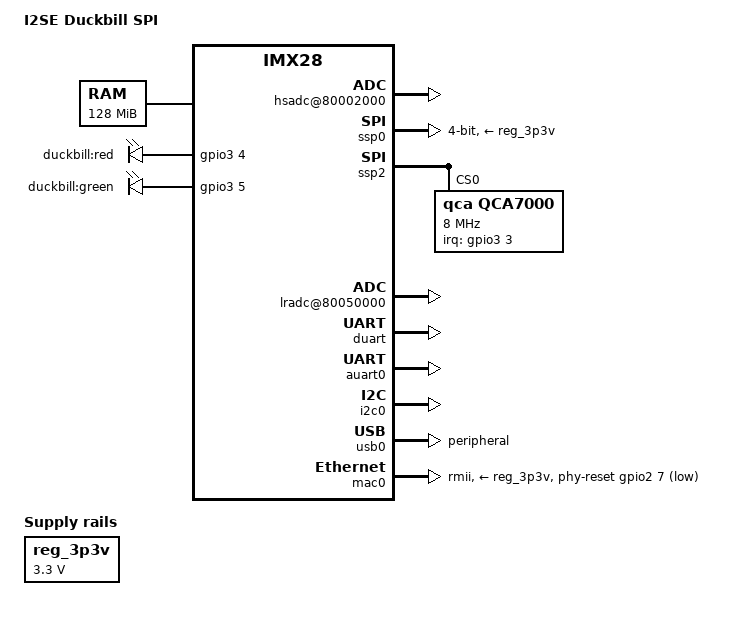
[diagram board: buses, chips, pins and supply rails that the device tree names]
/*
 * Copyright 2013 I2SE GmbH
 *
 * The code contained herein is licensed under the GNU General Public
 * License. You may obtain a copy of the GNU General Public License
 * Version 2 or later at the following locations:
 *
 * http://www.opensource.org/licenses/gpl-license.html
 * http://www.gnu.org/copyleft/gpl.html
 */

/dts-v1/;
/include/ "imx28.dtsi"

/ {
	model = "I2SE Duckbill SPI";
	compatible = "i2se,imx28-duckbill-spi", "fsl,imx28";

	aliases {
		spi1 = &ssp2;	// give QCA7000 fixed name
	};

	memory {
		reg = <0x40000000 0x08000000>;
	};

	apb@80000000 {
		apbh@80000000 {
			hsadc@80002000 {
				status = "okay";
			};

			ssp0: ssp@80010000 {
				compatible = "fsl,imx28-mmc";
				pinctrl-names = "default";
				pinctrl-0 = <&mmc0_4bit_pins_a
					&mmc0_cd_cfg &mmc0_sck_cfg>;
				bus-width = <4>;
				vmmc-supply = <&reg_3p3v>;
				status = "okay";
			};

			ssp2: ssp@80014000 {
				#address-cells = <1>;
				#size-cells = <0>;
				compatible = "fsl,imx28-spi";
				pinctrl-names = "default";
				pinctrl-0 = <&spi2_pins_a>;
				status = "okay";
				
				qca7000: qca7000@0 {	
					compatible = "qca,qca7000";
					interrupt-parent = <&gpio3>;
					interrupts = <3 0x1>;
					spi-cpha;
					spi-cpol;
					spi-max-frequency = <8000000>;
					reg = <0x0>;
				}; 

			};


			pinctrl@80018000 {
				pinctrl-names = "default";

				qca7k: qca7k@0 {
					reg = <0>;
					fsl,pinmux-ids = <
						0x3193 /* MX28_PAD_I2C0_SDA__GPIO_3_25, SPI_INT */
						0x10d3 /* MX28_PAD_LCD_D13__GPIO_1_13, QCA7K_RESET */
						0x10e3 /* MX28_PAD_LCD_D14__GPIO_1_14, GPIO_0 */
						0x10f3 /* MX28_PAD_LCD_D15__GPIO_1_15, GPIO_1 */
						0x1123 /* MX28_PAD_LCD_D18__GPIO_1_18, GPIO_2 */
						0x1153 /* MX28_PAD_LCD_D21__GPIO_1_21, GPIO_3 */
					>;
					fsl,drive-strength = <0>;
					fsl,voltage = <1>;
					fsl,pull-up = <0>;
				};

				led_pins: led_pins@0 {
					reg = <0>;
					fsl,pinmux-ids = <
						0x3043 /* MX28_PAD_AUART1_RX__GPIO_3_4, LED_0 */
						0x3053 /* MX28_PAD_AUART1_TX__GPIO_3_5, LED_1 */
					>;
					fsl,drive-strength = <0>;
					fsl,voltage = <1>;
					fsl,pull-up = <0>;
				};
			};
		};

		apbx@80040000 {
			lradc@80050000 {
				status = "okay";
			};

			duart: serial@80074000 {
				pinctrl-names = "default";
				pinctrl-0 = <&duart_pins_a>;
				status = "okay";
			};

			auart0: serial@8006a000 {
				pinctrl-names = "default";
				pinctrl-0 = <&auart0_2pins_a>;
				status = "okay";
			};

			usbphy0: usbphy@8007c000 {
				status = "okay";
			};

			i2c0: i2c@80058000 {
				pinctrl-names = "default";
				pinctrl-0 = <&i2c0_pins_a>;
				status = "okay";
			};
		};
	};

	ahb@80080000 {
		usb0: usb@80080000 {
			status = "okay";
			dr_mode = "peripheral";
		};

		mac0: ethernet@800f0000 {
			phy-mode = "rmii";
			pinctrl-names = "default";
			pinctrl-0 = <&mac0_pins_a>;
			phy-supply = <&reg_3p3v>;
			phy-reset-gpios = <&gpio2 7 0>; /* MX28_PAD_SSP0_DATA7__GPIO_2_7 */
			phy-reset-duration = <100>;
			status = "okay";
		};
	};

	regulators {
		compatible = "simple-bus";
		#address-cells = <1>;
		#size-cells = <0>;

		reg_3p3v: regulator@0 {
			compatible = "regulator-fixed";
			reg = <0>;
			regulator-name = "3P3V";
			regulator-min-microvolt = <3300000>;
			regulator-max-microvolt = <3300000>;
			regulator-always-on;
		};
	};

	leds {
		compatible = "gpio-leds";
		pinctrl-names = "default";
		pinctrl-0 = <&led_pins>;

		led0 {			// Boot
			label = "duckbill:red";
			gpios = <&gpio3 4 0>;
			linux,default-trigger = "default-on";
		};

		led1 {			// Heartbeat
			label = "duckbill:green";
			gpios = <&gpio3 5 0>;
			linux,default-trigger = "heartbeat";
		};
	};
};
